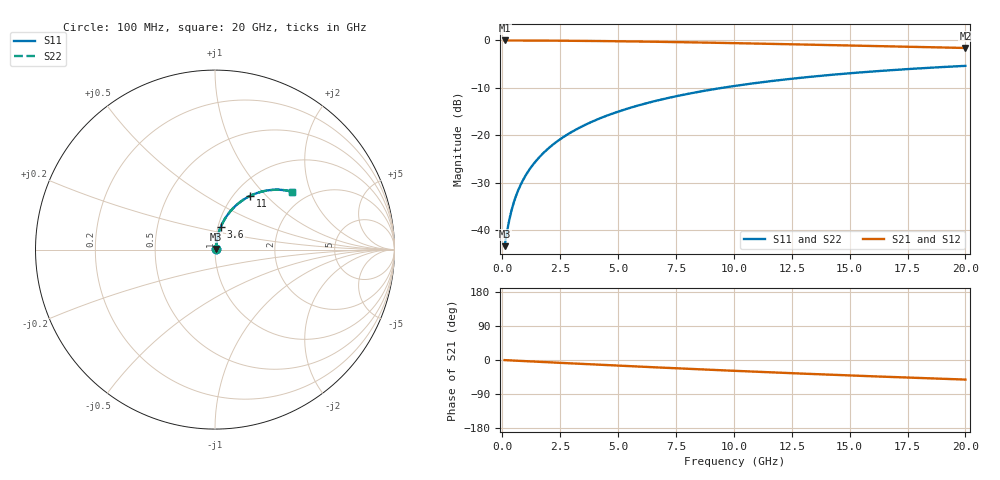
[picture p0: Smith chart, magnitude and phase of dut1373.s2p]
! Touchstone file exported from HFSS 2026.1.0
!  File:  C:/ffzhzh/LocalFiles/Ansys_Project_Files/temp_train_TMRDL_1373_1783165918_43440.aedt
!  Generated:  07:53:13 PM Jul  4, 2026
!  Design:  TMRDL
!  Project:  temp_train_TMRDL_1373_1783165918_43440
! Variables:
!  h_bsmrdl = 2um
!  h_ox = 20um
!  h_rdl = 5um
!  h_sub = 80um
!  h_tmrdl = 3.26um
!  h_tsv = 80um
!  h_via = 3um
!  l_bsmrdl = 300um
!  l_sub = 1124.43um
!  l_tmrdl = 724.43um
!  m_sub = 200um
!  pitch = 47.85um
!  r_tsv = 6um
!  s_tmrdl = 10um
!  w_bsmrdl = 18um
!  w_sub = 500um
!  w_tmrdl = 14.11um
!  x_tsv_center1 = 731.485um
!  x_tsv_center2 = 1049.485um
!  x_tsv_center3 = 1788.025um
!  x_tsv_center4 = 2106.025um
!  x_tsv_center5 = 2844.565um
!  x_tsv_center6 = 3162.565um
# GHz S MA R 50.000000
! Terminal data exported
! Port[1] = TM_RDL1_1_T1
! Port[2] = TM_RDL1_1_T2
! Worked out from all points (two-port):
!   200 points, 100 MHz to 20 GHz, reference 50 ohm
!   highest |S21| = -0.05 dB at 100 MHz (marker M1); lowest = -1.6 dB at 20 GHz (marker M2)
!   |S21| within 3 dB of the highest: start of sweep to end of sweep
!   lowest |S11| = -43.3 dB at 100 MHz (marker M3), VSWR 1.01, Z = 50.6 + j0.385 ohm
!   |S11| at or under -10 dB: start of sweep to 9.516 GHz
!   |S22| runs from -43.3 to -5.4 dB; largest |S21 - S12| = 2e-15
!   S11 on the Smith chart (normalised r, x): 100 MHz: 1.01, +0.01; 3.6 GHz: 1.03, +0.26; 11 GHz: 1.18, +0.81; 20 GHz: 1.66, +1.50
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0.1  0.006822 34.0  0.9944 -0.3  0.9944 -0.3  0.006822 34.0
! Gamma 0 0 0 0
! Port Impedance 50 0 50 0
0.2  0.009558 52.6  0.9942 -0.6  0.9942 -0.6  0.009558 52.6
0.3  0.01283 61.9  0.9941 -0.9  0.9941 -0.9  0.01283 61.9
0.4  0.01628 67.2  0.9939 -1.2  0.9939 -1.2  0.01628 67.2
0.5  0.01979 70.5  0.9937 -1.5  0.9937 -1.5  0.01979 70.5
0.6  0.02332 72.6  0.9935 -1.8  0.9935 -1.8  0.02332 72.6
0.8  0.0304 75.3  0.9931 -2.4  0.9931 -2.4  0.0304 75.3
1.1  0.04107 77.3  0.9926 -3.3  0.9926 -3.3  0.04107 77.3
1.5  0.05532 78.4  0.9917 -4.5  0.9917 -4.5  0.05532 78.4
2.1  0.07671 78.4  0.99 -6.3  0.99 -6.3  0.07671 78.4
2.7  0.09798 77.6  0.9879 -8.1  0.9879 -8.1  0.09798 77.6
3.5  0.126 76.0  0.9843 -10.4  0.9843 -10.4  0.126 76.0
3.6  0.1295 75.8  0.9838 -10.7  0.9838 -10.7  0.1295 75.8
4.3  0.1536 74.2  0.9799 -12.8  0.9799 -12.8  0.1536 74.1
5  0.1773 72.4  0.9755 -14.8  0.9755 -14.8  0.1773 72.4
6.8  0.2357 67.7  0.962 -19.9  0.962 -19.9  0.2357 67.7
8.3  0.2813 63.8  0.9488 -24.0  0.9488 -24.0  0.2813 63.8
10.1  0.3323 59.2  0.9313 -28.8  0.9313 -28.8  0.3323 59.2
11  0.3561 57.0  0.9222 -31.1  0.9222 -31.1  0.3561 57.0
13.4  0.4144 51.2  0.8968 -37.0  0.8968 -37.0  0.4144 51.2
16.7  0.4825 43.8  0.8619 -44.6  0.8619 -44.6  0.4825 43.7
20  0.5375 36.9  0.8289 -51.6  0.8289 -51.6  0.5376 36.9
